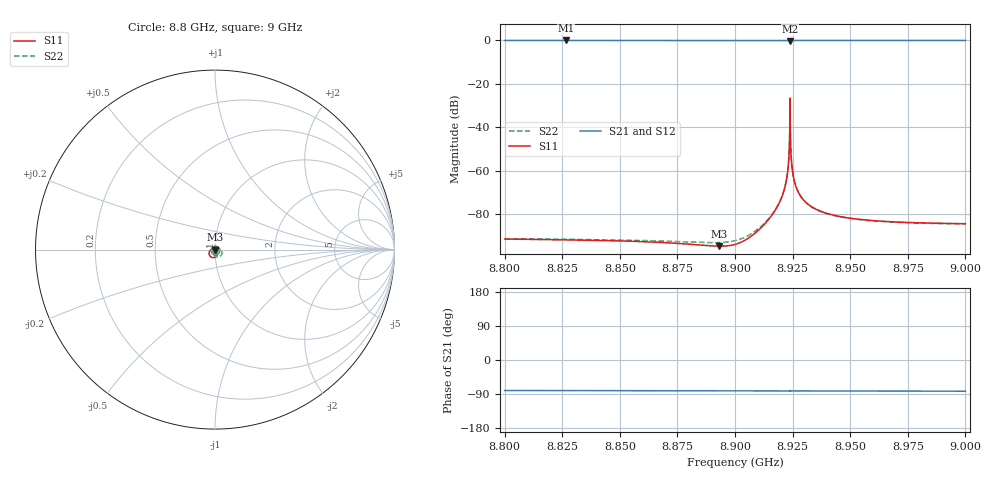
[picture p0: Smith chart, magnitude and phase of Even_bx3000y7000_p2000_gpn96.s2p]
! Sonnet Data File
! From: emgraph Version : 16.52
! From Project: Resonator2_cp_cp
! Data is De-embedded
! Data File Written: 10/06/2017 09:20:31
!< HDATE 10/05/2017 21:11:40
!< MDATE 10/05/2017 21:11:40
!< PARAMS
!< gap = 96.0
!< Length = 400.0
!< Pwid1 = 2000.0
!< Pwid2 = 2000.0
!< END PARAMS
# GHZ S MA R 51.80000
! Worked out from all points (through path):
!   1596 points, 8.8 GHz to 9 GHz, reference 51.8 ohm
!   highest |S21| = 0.00 dB at 8.8266 GHz (marker M1); lowest = -0.4 dB at 8.9239 GHz (marker M2)
!   group delay of S21, straight-line fit = 25.4 ps
!   lowest |S11| = -94.8 dB at 8.8932 GHz (marker M3), VSWR 1.00, Z = 51.8 - j0.00165 ohm
!   |S11| at or under -10 dB: start of sweep to end of sweep
!   |S22| runs from -93.2 to -26.6 dB; largest |S21 - S12| = 0
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8.8  2.649e-05 -167.8  1 -80.5  1 -80.5  2.709e-05 177.1
!< P1 F=8.8 Eeff=(6.44679989 -2.9721e-5) Z0=(51.7992624 1.19519e-4) R=0.0 C=0.0
!< P2 F=8.8 Eeff=(6.44679989 -2.9721e-5) Z0=(51.7992624 1.19519e-4) R=0.0 C=0.0
8.8266  2.535e-05 -165.3  1 -80.7  1 -80.7  2.618e-05 173.8
8.8334  2.501e-05 -164.3  1 -80.8  1 -80.8  2.593e-05 172.7
8.8668  2.228e-05 -154.7  1 -81.1  1 -81.1  2.398e-05 162.0
8.8932  1.816e-05 -118.5  1 -81.3  1 -81.3  2.194e-05 128.6
8.9  1.991e-05 -92.5  1 -81.4  1 -81.4  2.434e-05 107.6
8.9158  9.046e-05 -37.0  1 -81.6  1 -81.6  9.36e-05 55.4
8.919389  0.0001885 -30.7  1 -81.6  1 -81.6  0.0001912 48.0
8.921598  0.0004044 -27.8  1 -81.6  1 -81.6  0.0004067 43.9
8.922991  0.001091 -26.9  1 -81.7  1 -81.7  0.001092 41.0
8.923649  0.004206 -29.9  0.9996 -81.9  0.9996 -81.9  0.004205 36.3
8.923798  0.01116 -38.4  0.9974 -82.2  0.9974 -82.2  0.01116 27.4
8.923885  0.0468 -114.5  0.9532 -81.6  0.9532 -81.6  0.04676 -48.9
8.924001  0.008612 166.2  0.9985 -81.1  0.9985 -81.1  0.008601 -128.5
8.924218  0.003068 159.6  0.9998 -81.5  0.9998 -81.5  0.003063 -135.6
8.924623  0.001405 158.0  1 -81.5  1 -81.5  0.001401 -138.2
8.925421  0.0006948 158.0  1 -81.6  1 -81.6  0.0006919 -140.0
8.9284  0.0002619 160.2  1 -81.7  1 -81.7  0.0002596 -143.9
8.933359  0.0001458 163.6  1 -81.7  1 -81.7  0.0001438 -148.5
8.941211  9.866e-05 167.5  1 -81.8  1 -81.8  9.71e-05 -153.5
8.9668  6.684e-05 173.9  1 -82.0  1 -82.0  6.587e-05 -161.8
9  5.984e-05 177.3  1 -82.3  1 -82.3  5.918e-05 -166.3
